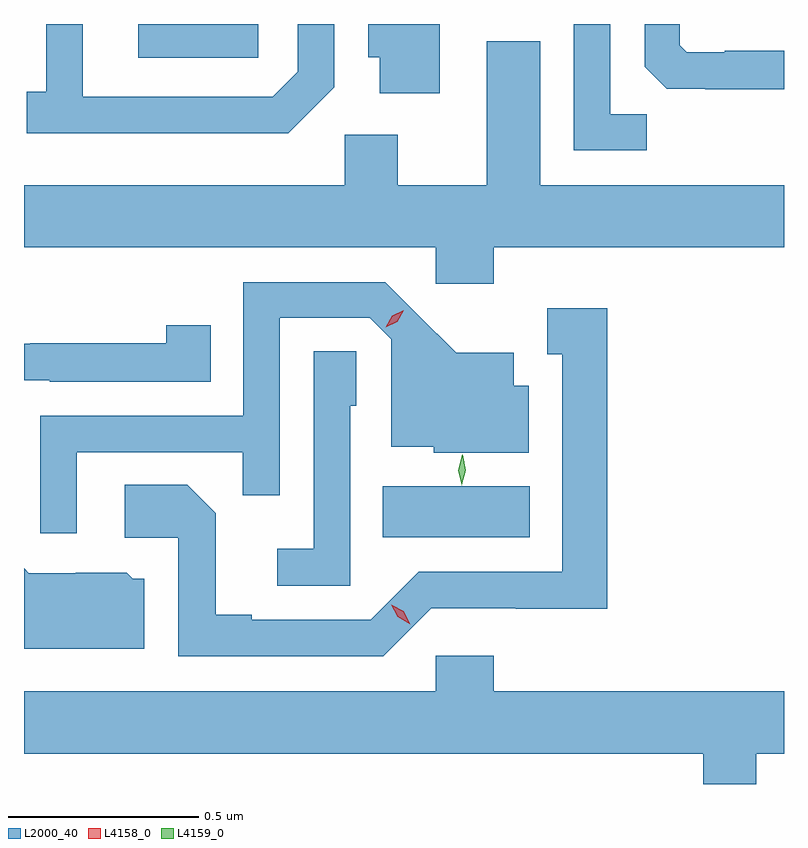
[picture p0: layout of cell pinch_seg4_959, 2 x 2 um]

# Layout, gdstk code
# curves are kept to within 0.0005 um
import gdstk
lib = gdstk.Library(unit=1e-6, precision=1e-09)
def R(c, l, rs):  # rectangles x0, y0, x1, y1
    for r in rs: c.add(gdstk.rectangle(r[:2], r[2:], *l))
def P(c, l, *ps):  # polygons
    for p in ps: c.add(gdstk.Polygon(p, *l))
L2000_40 = (2000, 40)
L4158_0 = (4158, 0)
L4159_0 = (4159, 0)

pinch_seg4_959 = lib.new_cell('pinch_seg4_959')
R(pinch_seg4_959, L2000_40, [(649.744,798.722,650.131,798.856), (649.101,799.983,649.416,800.072)])
P(pinch_seg4_959, L2000_40, [(650.8,800.001),(650.644,800.001),(650.644,799.998),(650.544,799.998),(650.526,800.016),(650.526,800.072),(650.433,800.072),(650.433,799.96),(650.492,799.901),(650.593,799.901),(650.593,799.9),(650.8,799.9)],
  [(649.894,800.072),(649.706,800.072),(649.706,799.985),(649.736,799.985),(649.736,799.89),(649.894,799.89)],
  [(650.439,799.835),(650.343,799.835),(650.343,800.072),(650.247,800.072),(650.247,799.74),(650.439,799.74)],
  [(649.617,799.905),(649.617,800.072),(649.521,800.072),(649.521,799.947),(649.455,799.881),(648.955,799.881),(648.955,800.072),(648.858,800.072),(648.858,799.894),(648.807,799.894),(648.807,799.784),(649.496,799.784)],
  [(650.018,800.026),(650.018,799.648),(649.783,799.648),(649.783,799.78),(649.644,799.78),(649.644,799.648),(648.8,799.648),(648.8,799.484),(649.884,799.484),(649.884,799.389),(650.036,799.389),(650.036,799.484),(650.8,799.484),(650.8,799.648),(650.158,799.648),(650.158,800.026)],
  [(648.939,798.945),(649.375,798.945),(649.375,798.832),(649.473,798.832),(649.473,799.299),(649.71,799.299),(649.767,799.242),(649.767,798.959),(649.878,798.959),(649.878,798.944),(650.128,798.944),(650.128,799.12),(650.089,799.12),(650.089,799.207),(649.937,799.207),(649.75,799.392),(649.377,799.392),(649.377,799.041),(648.843,799.041),(648.843,798.732),(648.939,798.732)],
  [(649.872,798.534),(650.094,798.534),(650.094,798.533),(650.335,798.533),(650.335,799.324),(650.177,799.324),(650.177,799.203),(650.216,799.203),(650.216,798.63),(649.839,798.63),(649.713,798.504),(649.399,798.504),(649.399,798.517),(649.305,798.517),(649.305,798.784),(649.229,798.86),(649.065,798.86),(649.065,798.72),(649.206,798.72),(649.206,798.408),(649.746,798.408)],
  [(649.292,799.279),(649.174,799.279),(649.174,799.232),(648.817,799.232),(648.817,799.231),(648.8,799.231),(648.8,799.134),(648.868,799.134),(648.868,799.131),(649.292,799.131)],
  [(649.659,799.068),(649.674,799.068),(649.674,799.211),(649.563,799.211),(649.563,798.691),(649.467,798.691),(649.467,798.594),(649.659,798.594)],
  [(649.117,798.612),(649.086,798.612),(649.07,798.628),(648.936,798.628),(648.936,798.627),(648.813,798.627),(648.8,798.64),(648.8,798.428),(649.117,798.428)],
  [(650.727,798.152),(650.8,798.152),(650.8,798.316),(650.036,798.316),(650.036,798.409),(649.884,798.409),(649.884,798.316),(648.8,798.316),(648.8,798.152),(650.588,798.152),(650.588,798.072),(650.727,798.072)])
P(pinch_seg4_959, L4158_0, [(649.816,798.493),(649.784,798.512),(649.766,798.544),(649.766,798.544),(649.767,798.544),(649.799,798.526),(649.816,798.493),(649.816,798.493)],
  [(649.752,799.274),(649.752,799.274),(649.769,799.304),(649.799,799.319),(649.799,799.319),(649.799,799.319),(649.782,799.289),(649.752,799.274)])
P(pinch_seg4_959, L4159_0, [(649.952,798.858),(649.952,798.859),(649.943,798.898),(649.953,798.938),(649.953,798.938),(649.954,798.938),(649.963,798.898),(649.952,798.859)])

lib.write_gds('pinch_seg4_959.gds')
